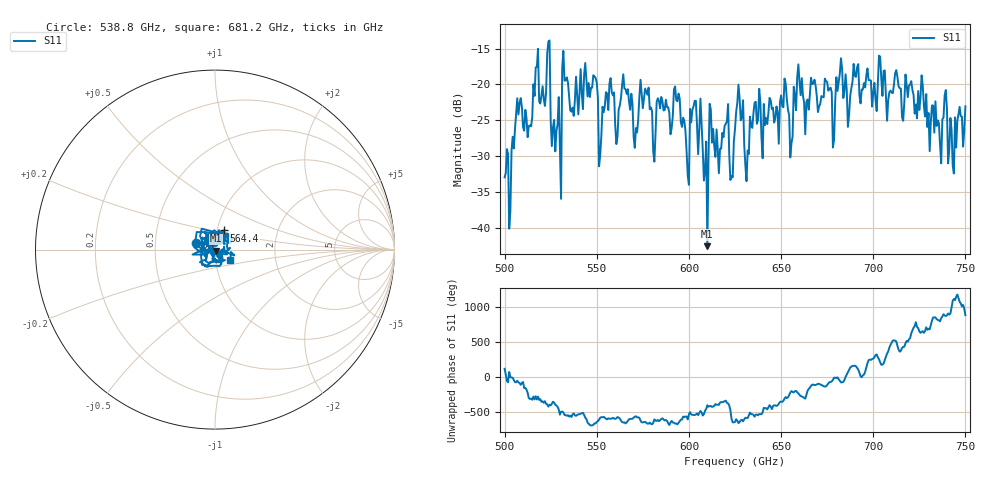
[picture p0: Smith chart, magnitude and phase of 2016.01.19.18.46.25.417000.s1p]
!Created with skrf (http://scikit-rf.org).
# GHz S RI R 50.0
!freq ReS11 ImS11
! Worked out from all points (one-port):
!   401 points, 500 GHz to 750 GHz, reference 50 ohm
!   lowest |S11| = -42.6 dB at 610 GHz (marker M1), VSWR 1.02, Z = 50.5 - j0.552 ohm
!   |S11| at or under -10 dB: start of sweep to end of sweep
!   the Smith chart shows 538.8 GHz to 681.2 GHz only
!   S11 on the Smith chart (normalised r, x): 538.8 GHz: 0.80, +0.06; 564.4 GHz: 1.08, +0.23; 681.2 GHz: 1.18, -0.14
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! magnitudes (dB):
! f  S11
! 500 GHz  -33.0
! 503.8 GHz  -29.3
! 507.5 GHz  -24.2
! 513.8 GHz  -25.7
! 516.9 GHz  -17.6
! 523.8 GHz  -14.0
! 526.9 GHz  -24.9
! 531.2 GHz  -17.7
! 532.5 GHz  -19.5
! 538.8 GHz  -18.9
! 562.5 GHz  -22.9
! 564.4 GHz  -18.6
! 571.2 GHz  -26.1
! 575 GHz  -23.3
! 580.6 GHz  -29.3
! 593.8 GHz  -22.4
! 598.8 GHz  -29.4
! 603.1 GHz  -22.3
! 610 GHz  -42.6
! 625 GHz  -26.2
! 656.2 GHz  -27.3
! 660 GHz  -19.6
! 678.1 GHz  -28.8
! 681.2 GHz  -19.7
! 687.5 GHz  -21.6
! 718.8 GHz  -21.8
! 742.5 GHz  -26.3
! 750 GHz  -23.1
